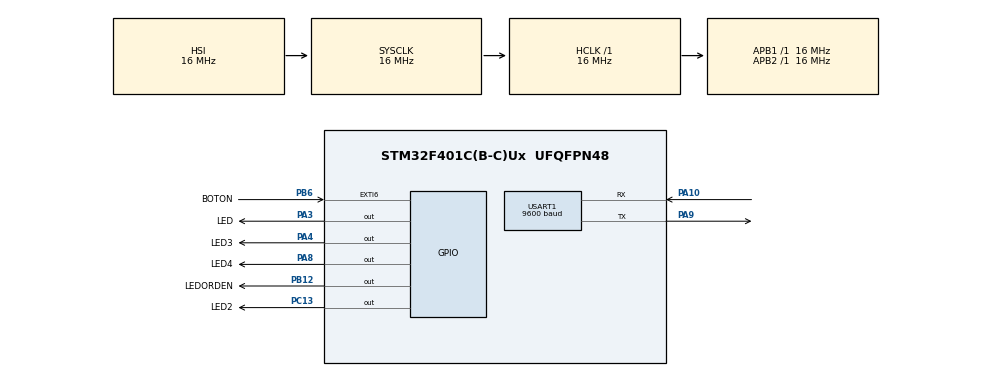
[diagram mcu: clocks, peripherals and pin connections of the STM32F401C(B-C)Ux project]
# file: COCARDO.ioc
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Dma.Request0=USART1_RX
Dma.USART1_RX.0.Direction=DMA_PERIPH_TO_MEMORY
Dma.USART1_RX.0.FIFOMode=DMA_FIFOMODE_DISABLE
Dma.USART1_RX.0.Instance=DMA2_Stream2
Dma.USART1_RX.0.MemDataAlignment=DMA_MDATAALIGN_BYTE
Dma.USART1_RX.0.MemInc=DMA_MINC_ENABLE
Dma.USART1_RX.0.Mode=DMA_NORMAL
Dma.USART1_RX.0.PeriphDataAlignment=DMA_PDATAALIGN_BYTE
Dma.USART1_RX.0.PeriphInc=DMA_PINC_DISABLE
Dma.USART1_RX.0.Priority=DMA_PRIORITY_LOW
Mcu.Family=STM32F4
Mcu.Name=STM32F401C(B-C)Ux
Mcu.Package=UFQFPN48
NVIC.DMA2_Stream2_IRQn=true\:0\:0\:false\:false\:true\:false\:true\:true
NVIC.EXTI9_5_IRQn=true\:0\:0\:false\:false\:true\:true\:true\:true
NVIC.PriorityGroup=NVIC_PRIORITYGROUP_2
NVIC.TIM1_UP_TIM10_IRQn=true\:1\:0\:true\:false\:true\:true\:true\:true
NVIC.USART1_IRQn=true\:1\:0\:true\:false\:true\:true\:true\:true
PA10.Mode=Asynchronous
PA10.Signal=USART1_RX
PA3.GPIO_Label=LED
PA3.Signal=GPIO_Output
PA4.GPIO_Label=LED3
PA4.Signal=GPIO_Output
PA8.GPIO_Label=LED4
PA8.Signal=GPIO_Output
PA9.Mode=Asynchronous
PA9.Signal=USART1_TX
PB12.GPIO_Label=LEDORDEN
PB12.Signal=GPIO_Output
PB6.GPIO_Label=BOTON
PB6.GPIO_ModeDefaultEXTI=GPIO_MODE_IT_RISING
PB6.GPIO_PuPd=GPIO_PULLDOWN
PB6.Signal=GPXTI6
PC13-ANTI_TAMP.GPIO_Label=LED2
PC13-ANTI_TAMP.Signal=GPIO_Output
ProjectManager.HeapSize=0x200
ProjectManager.StackSize=0x400
ProjectManager.TargetToolchain=CMake
RCC.AHBFreq_Value=16000000
RCC.APB1Freq_Value=16000000
RCC.APB2Freq_Value=16000000
RCC.CortexFreq_Value=16000000
RCC.HSE_VALUE=25000000
RCC.HSI_VALUE=16000000
RCC.LSE_VALUE=32768
RCC.SYSCLKFreq_VALUE=16000000
RCC.VCOOutputFreq_Value=192000000
TIM1.AutoReloadPreload=TIM_AUTORELOAD_PRELOAD_ENABLE
TIM1.Period=100-1
TIM1.Prescaler=16000-1
USART1.BaudRate=9600
USART1.VirtualMode=VM_ASYNC
VP_TIM1_VS_ClockSourceINT.Mode=Internal
board=custom

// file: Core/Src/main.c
/* USER CODE BEGIN Header */
/**
  ******************************************************************************
  * @file           : main.c
  * @brief          : Main program body
  ******************************************************************************
  * @attention
  *
  * Copyright (c) 2026 STMicroelectronics.
  * All rights reserved.
  *
  * This software is licensed under terms that can be found in the LICENSE file
  * in the root directory of this software component.
  * If no LICENSE file comes with this software, it is provided AS-IS.
  *
  ******************************************************************************
  */
/* USER CODE END Header */
#include "main.h"

/* USER CODE BEGIN Includes */
#include "stdio.h"
#include "string.h"
#include "stdlib.h"
#include "stdbool.h"
#include "math.h"
#include "uart.h"
#include "UARTRX.h"
/* USER CODE END Includes */

TIM_HandleTypeDef htim1;

UART_HandleTypeDef huart1;
DMA_HandleTypeDef hdma_usart1_rx;

void SystemClock_Config(void);
static void MX_GPIO_Init(void);
static void MX_DMA_Init(void);
static void MX_TIM1_Init(void);
static void MX_USART1_UART_Init(void);

/* USER CODE BEGIN 0 */
void procesa_rx(void)
{
  uint16_t inicio = 0;
  uint16_t fin = UARTRX1.num_datos;
  char comando[7] = {0};

  while (inicio < fin && (UARTRX1.trama_rx[inicio] == ' ' ||
                          UARTRX1.trama_rx[inicio] == '\t' ||
                          UARTRX1.trama_rx[inicio] == '\r' ||
                          UARTRX1.trama_rx[inicio] == '\n'))
  {
    inicio++;
  }
  while (fin > inicio && (UARTRX1.trama_rx[fin - 1] == ' ' ||
                          UARTRX1.trama_rx[fin - 1] == '\t' ||
                          UARTRX1.trama_rx[fin - 1] == '\r' ||
                          UARTRX1.trama_rx[fin - 1] == '\n'))
  {
    fin--;
  }

  uint16_t longitud = fin - inicio;
  if (longitud == 5 || longitud == 6)
  {
    for (uint16_t i = 0; i < longitud; i++)
    {
      char caracter = (char)UARTRX1.trama_rx[inicio + i];
      if (caracter >= 'a' && caracter <= 'z')
      {
        caracter = (char)(caracter - ('a' - 'A'));
      }
      comando[i] = caracter;
    }

    if (strcmp(comando, "PRENDE") == 0)
    {
      HAL_GPIO_WritePin(LEDORDEN_GPIO_Port, LEDORDEN_Pin, GPIO_PIN_SET);
      uartx_write_text(&huart1, "LED ENCENDIDO\r\n");
    }
    else if (strcmp(comando, "APAGA") == 0)
    {
      HAL_GPIO_WritePin(LEDORDEN_GPIO_Port, LEDORDEN_Pin, GPIO_PIN_RESET);
      uartx_write_text(&huart1, "LED APAGADO\r\n");
    }
  }
}

/* USER CODE END 0 */

int main(void)
{

  /* MCU Configuration--------------------------------------------------------*/

  /* Reset of all peripherals, Initializes the Flash interface and the Systick. */
  HAL_Init();

  /* Configure the system clock */
  SystemClock_Config();

  /* Initialize all configured peripherals */
  MX_GPIO_Init();
  MX_DMA_Init();
  MX_TIM1_Init();
  MX_USART1_UART_Init();
  /* USER CODE BEGIN 2 */
HAL_TIM_Base_Start_IT(&htim1);
uartRX_it_idle_dma_init( &UARTRX1);
  /* USER CODE END 2 */

  /* Infinite loop */
  /* USER CODE BEGIN WHILE */
  while (1)
  {
    if (UARTRX1.flag_rx==1)
	  {
        procesa_rx();
		  uartRX_DMA_Re_init(&UARTRX1);
	  }

    /* USER CODE END WHILE */

  }
}

void SystemClock_Config(void)
{
  RCC_OscInitTypeDef RCC_OscInitStruct = {0};
  RCC_ClkInitTypeDef RCC_ClkInitStruct = {0};

  /** Configure the main internal regulator output voltage
  */
  __HAL_RCC_PWR_CLK_ENABLE();
  __HAL_PWR_VOLTAGESCALING_CONFIG(PWR_REGULATOR_VOLTAGE_SCALE2);

  /** Initializes the RCC Oscillators according to the specified parameters
  * in the RCC_OscInitTypeDef structure.
  */
  RCC_OscInitStruct.OscillatorType = RCC_OSCILLATORTYPE_HSI;
  RCC_OscInitStruct.HSIState = RCC_HSI_ON;
  RCC_OscInitStruct.HSICalibrationValue = RCC_HSICALIBRATION_DEFAULT;
  RCC_OscInitStruct.PLL.PLLState = RCC_PLL_NONE;
  if (HAL_RCC_OscConfig(&RCC_OscInitStruct) != HAL_OK)
  {
    Error_Handler();
  }

  /** Initializes the CPU, AHB and APB buses clocks
  */
  RCC_ClkInitStruct.ClockType = RCC_CLOCKTYPE_HCLK|RCC_CLOCKTYPE_SYSCLK
                              |RCC_CLOCKTYPE_PCLK1|RCC_CLOCKTYPE_PCLK2;
  RCC_ClkInitStruct.SYSCLKSource = RCC_SYSCLKSOURCE_HSI;
  RCC_ClkInitStruct.AHBCLKDivider = RCC_SYSCLK_DIV1;
  RCC_ClkInitStruct.APB1CLKDivider = RCC_HCLK_DIV1;
  RCC_ClkInitStruct.APB2CLKDivider = RCC_HCLK_DIV1;

  if (HAL_RCC_ClockConfig(&RCC_ClkInitStruct, FLASH_LATENCY_0) != HAL_OK)
  {
    Error_Handler();
  }
}

static void MX_TIM1_Init(void)
{

  TIM_ClockConfigTypeDef sClockSourceConfig = {0};
  TIM_MasterConfigTypeDef sMasterConfig = {0};

  htim1.Instance = TIM1;
  htim1.Init.Prescaler = 16000-1;
  htim1.Init.CounterMode = TIM_COUNTERMODE_UP;
  htim1.Init.Period = 100-1;
  htim1.Init.ClockDivision = TIM_CLOCKDIVISION_DIV1;
  htim1.Init.RepetitionCounter = 0;
  htim1.Init.AutoReloadPreload = TIM_AUTORELOAD_PRELOAD_ENABLE;
  if (HAL_TIM_Base_Init(&htim1) != HAL_OK)
  {
    Error_Handler();
  }
  sClockSourceConfig.ClockSource = TIM_CLOCKSOURCE_INTERNAL;
  if (HAL_TIM_ConfigClockSource(&htim1, &sClockSourceConfig) != HAL_OK)
  {
    Error_Handler();
  }
  sMasterConfig.MasterOutputTrigger = TIM_TRGO_RESET;
  sMasterConfig.MasterSlaveMode = TIM_MASTERSLAVEMODE_DISABLE;
  if (HAL_TIMEx_MasterConfigSynchronization(&htim1, &sMasterConfig) != HAL_OK)
  {
    Error_Handler();
  }

}

static void MX_USART1_UART_Init(void)
{

  huart1.Instance = USART1;
  huart1.Init.BaudRate = 9600;
  huart1.Init.WordLength = UART_WORDLENGTH_8B;
  huart1.Init.StopBits = UART_STOPBITS_1;
  huart1.Init.Parity = UART_PARITY_NONE;
  huart1.Init.Mode = UART_MODE_TX_RX;
  huart1.Init.HwFlowCtl = UART_HWCONTROL_NONE;
  huart1.Init.OverSampling = UART_OVERSAMPLING_16;
  if (HAL_UART_Init(&huart1) != HAL_OK)
  {
    Error_Handler();
  }

}

static void MX_DMA_Init(void)
{

  /* DMA controller clock enable */
  __HAL_RCC_DMA2_CLK_ENABLE();

  /* DMA interrupt init */
  /* DMA2_Stream2_IRQn interrupt configuration */
  HAL_NVIC_SetPriority(DMA2_Stream2_IRQn, 0, 0);
  HAL_NVIC_EnableIRQ(DMA2_Stream2_IRQn);

}

static void MX_GPIO_Init(void)
{
  GPIO_InitTypeDef GPIO_InitStruct = {0};

  /* GPIO Ports Clock Enable */
  __HAL_RCC_GPIOC_CLK_ENABLE();
  __HAL_RCC_GPIOA_CLK_ENABLE();
  __HAL_RCC_GPIOB_CLK_ENABLE();

  /*Configure GPIO pin Output Level */
  HAL_GPIO_WritePin(LED2_GPIO_Port, LED2_Pin, GPIO_PIN_RESET);

  /*Configure GPIO pin Output Level */
  HAL_GPIO_WritePin(GPIOA, LED_Pin|LED3_Pin|LED4_Pin, GPIO_PIN_RESET);

  /*Configure GPIO pin Output Level */
  HAL_GPIO_WritePin(LEDORDEN_GPIO_Port, LEDORDEN_Pin, GPIO_PIN_RESET);

  /*Configure GPIO pin : LED2_Pin */
  GPIO_InitStruct.Pin = LED2_Pin;
  GPIO_InitStruct.Mode = GPIO_MODE_OUTPUT_PP;
  GPIO_InitStruct.Pull = GPIO_NOPULL;
  GPIO_InitStruct.Speed = GPIO_SPEED_FREQ_LOW;
  HAL_GPIO_Init(LED2_GPIO_Port, &GPIO_InitStruct);

  /*Configure GPIO pins : LED_Pin LED3_Pin LED4_Pin */
  GPIO_InitStruct.Pin = LED_Pin|LED3_Pin|LED4_Pin;
  GPIO_InitStruct.Mode = GPIO_MODE_OUTPUT_PP;
  GPIO_InitStruct.Pull = GPIO_NOPULL;
  GPIO_InitStruct.Speed = GPIO_SPEED_FREQ_LOW;
  HAL_GPIO_Init(GPIOA, &GPIO_InitStruct);

  /*Configure GPIO pin : LEDORDEN_Pin */
  GPIO_InitStruct.Pin = LEDORDEN_Pin;
  GPIO_InitStruct.Mode = GPIO_MODE_OUTPUT_PP;
  GPIO_InitStruct.Pull = GPIO_NOPULL;
  GPIO_InitStruct.Speed = GPIO_SPEED_FREQ_LOW;
  HAL_GPIO_Init(LEDORDEN_GPIO_Port, &GPIO_InitStruct);

  /*Configure GPIO pin : BOTON_Pin */
  GPIO_InitStruct.Pin = BOTON_Pin;
  GPIO_InitStruct.Mode = GPIO_MODE_IT_RISING;
  GPIO_InitStruct.Pull = GPIO_PULLDOWN;
  HAL_GPIO_Init(BOTON_GPIO_Port, &GPIO_InitStruct);

  /* EXTI interrupt init*/
  HAL_NVIC_SetPriority(EXTI9_5_IRQn, 0, 0);
  HAL_NVIC_EnableIRQ(EXTI9_5_IRQn);

}

void Error_Handler(void)
{
  __disable_irq();
  while (1)
  {
  }
}
